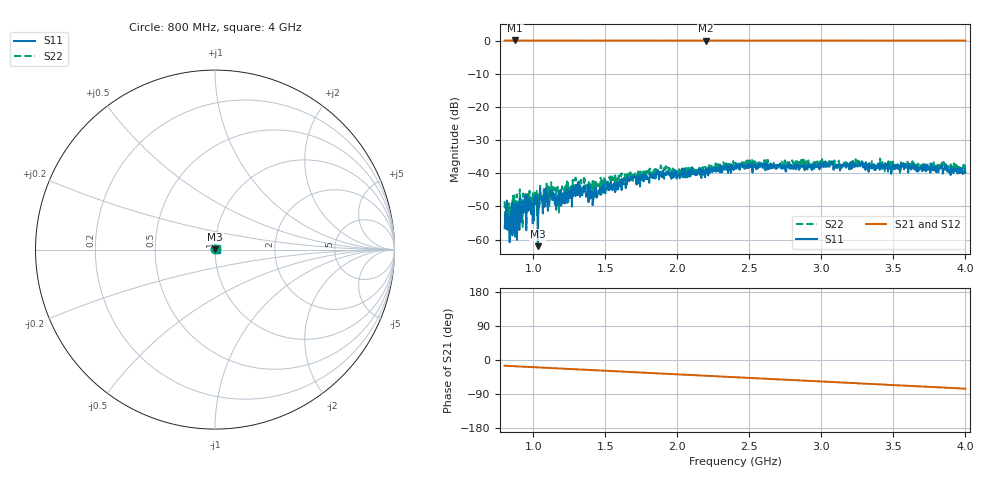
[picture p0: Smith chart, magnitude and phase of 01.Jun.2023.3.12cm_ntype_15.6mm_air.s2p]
!Keysight Technologies N9950B: A.12.38
!Date: Thursday, 01 June 2023 14:22:37
!Timezone: (UTC-06:00) Central Time (US & Canada)
!Model: N9950B
!Serial: MY61131330
!GPS Latitude:
!GPS Longitude:
!GPS TimeStamp: 0001-01-01 00:00:00Z
!GPS Seconds Since Last Read: 0
!CHECKSUM:0104207395
!Correction: S11(ON U)S21(ON U)S12(ON U)S22(ON U)
!S2P File: Measurements:S11,S21,S12,S22:
# Hz S DB R 50
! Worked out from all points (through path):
!   1001 points, 800 MHz to 4 GHz, reference 50 ohm
!   highest |S21| = 0.03 dB at 873.6 MHz (marker M1); lowest = 0.0 dB at 2.195 GHz (marker M2)
!   group delay of S21, straight-line fit = 52.5 ps
!   lowest |S11| = -62.0 dB at 1.03 GHz (marker M3), VSWR 1.00, Z = 50 + j0.0796 ohm
!   |S11| at or under -10 dB: start of sweep to end of sweep
!   |S22| runs from -56.6 to -35.3 dB; largest |S21 - S12| = 0.0054
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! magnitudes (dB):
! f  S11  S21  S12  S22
! 800 MHz  -56.5  0.0  0.0  -48.4
! 835.2 MHz  -60.8  0.0  0.0  -55.9
! 873.6 MHz  -59.1  0.0  0.0  -50.0
! 886.4 MHz  -60.1  0.0  0.0  -46.4
! 896 MHz  -49.2  0.0  0.0  -49.0
! 940.8 MHz  -49.4  0.0  0.0  -51.6
! 979.2 MHz  -48.2  0.0  0.0  -49.0
! 1.03 GHz  -62.0  0.0  0.0  -46.3
! 1.13 GHz  -47.2  0.0  0.0  -46.9
! 1.19 GHz  -49.0  0.0  0.0  -44.8
! 1.232 GHz  -48.6  0.0  0.0  -42.2
! 1.296 GHz  -45.4  0.0  0.0  -43.3
! 1.334 GHz  -45.2  0.0  0.0  -44.0
! 1.427 GHz  -46.0  0.0  0.0  -46.4
! 1.536 GHz  -43.0  0.0  0.0  -43.3
! 1.69 GHz  -41.1  0.0  0.0  -42.9
! 1.869 GHz  -39.4  0.0  0.0  -39.3
! 2.195 GHz  -38.8  0.0  0.0  -38.1
! 2.4 GHz  -38.6  0.0  0.0  -37.0
! 2.934 GHz  -39.1  0.0  0.0  -37.3
! 3.469 GHz  -38.3  0.0  0.0  -37.2
! 4 GHz  -39.9  0.0  0.0  -39.1
